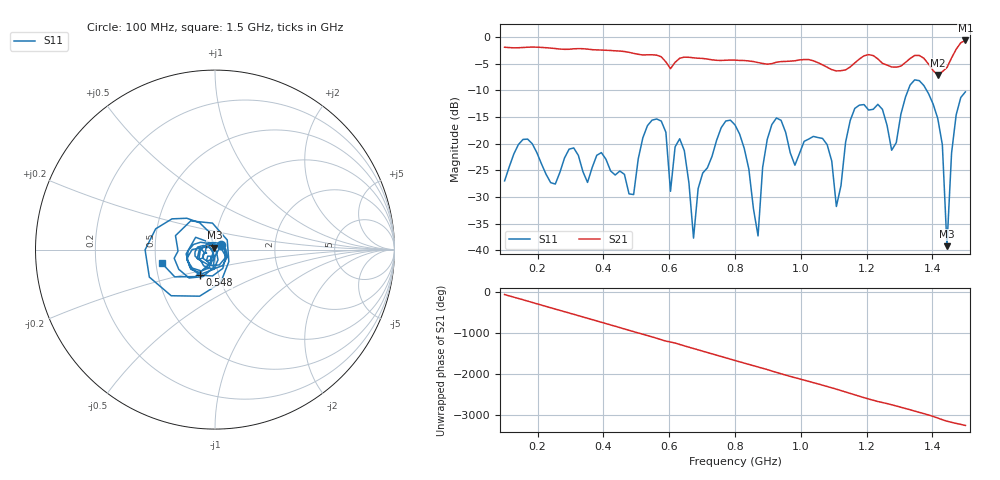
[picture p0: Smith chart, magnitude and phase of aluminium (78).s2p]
! NanoVNA-App
! Date: 2025-09-26 09:58:40
! Start: 100MHz Stop: 1,5GHz Points: 101
! S-Parameter data: F S11 S21 S12 S22
# Hz S RI R 50
!  Frequency  S11_Real  S11_Imag  S21_Real  S21_Imag  S12_Real  S12_Imag  S22_Real  S22_Imag
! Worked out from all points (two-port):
!   101 points, 100 MHz to 1.5 GHz, reference 50 ohm
!   highest |S21| = -0.64 dB at 1.5 GHz (marker M1); lowest = -7.1 dB at 1.416 GHz (marker M2)
!   |S21| within 3 dB of the highest: start of sweep to 573.1 MHz; 1.189 GHz to 1.224 GHz (34.62 MHz wide, 2.87 % of centre)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
!   lowest |S11| = -39.2 dB at 1.444 GHz (marker M3), VSWR 1.02, Z = 49.6 + j1.02 ohm
!   |S11| at or under -10 dB: start of sweep to 1.326 GHz; 1.382 GHz to end of sweep
!   S12 and S22 are empty: the file has one direction only
!   S11 on the Smith chart (normalised r, x): 100 MHz: 1.07, +0.06; 548 MHz: 0.81, -0.24; 1.5 GHz: 0.54, -0.09
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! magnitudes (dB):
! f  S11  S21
! 100 MHz  -27.0  -1.9
! 156 MHz  -19.2  -2.0
! 338 MHz  -25.3  -2.2
! 492 MHz  -29.6  -3.1
! 548 MHz  -15.6  -3.3
! 576 MHz  -15.8  -3.7
! 604 MHz  -28.9  -5.9
! 646 MHz  -21.3  -3.8
! 674 MHz  -37.7  -3.9
! 702 MHz  -25.5  -4.0
! 800 MHz  -16.5  -4.3
! 870 MHz  -37.3  -4.8
! 912 MHz  -16.4  -5.0
! 1.038 GHz  -18.6  -4.5
! 1.108 GHz  -31.8  -6.4
! 1.164 GHz  -13.4  -4.9
! 1.276 GHz  -21.2  -5.6
! 1.346 GHz  -8.0  -3.5
! 1.416 GHz  -15.3  -7.1
! 1.444 GHz  -39.2  -5.7
! 1.458 GHz  -21.8  -3.9
! 1.5 GHz  -10.3  -0.6
